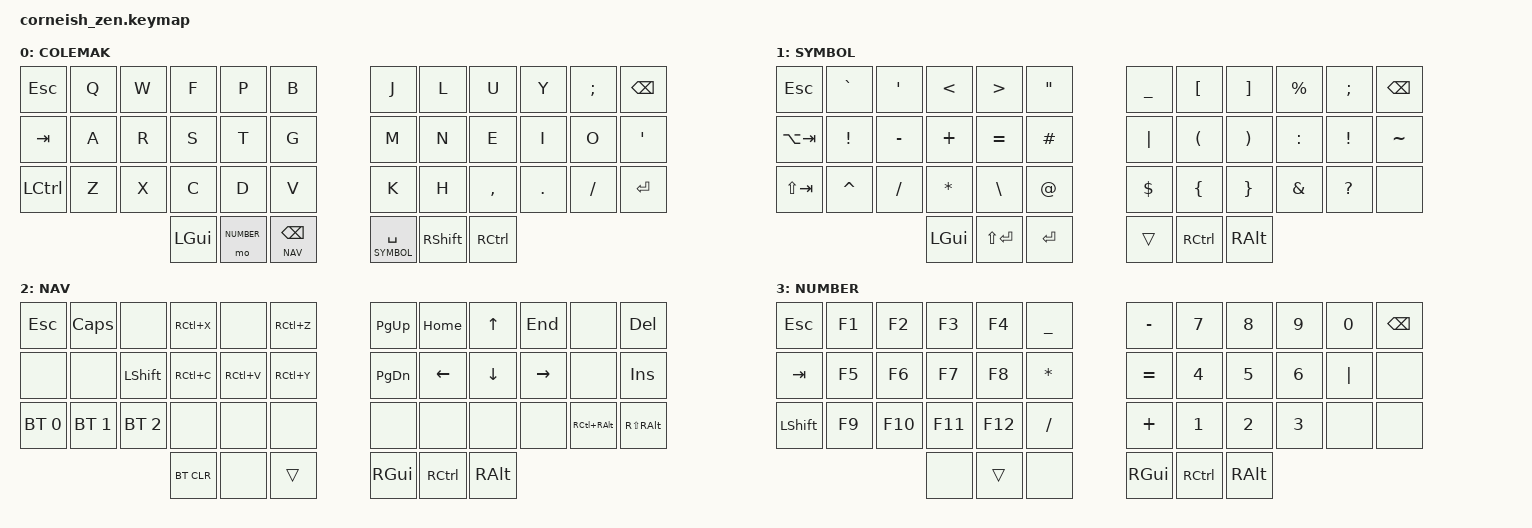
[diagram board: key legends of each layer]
/*
*
* Copyright (c) 2021 Darryl deHaan
* SPDX-License-Identifier: MIT
*
*/

#include <behaviors.dtsi>
#include <dt-bindings/zmk/keys.h>
#include <dt-bindings/zmk/bt.h>

#define BASE    0
#define SYMBOL  1
#define NAV     2
#define NUMBER  3
#define SYSTEM  4

/ {
    chosen {
        zmk,physical-layout = &foostan_corne_6col_layout;
    };
};

/ {
    keymap {
        compatible = "zmk,keymap";

        base_layer {
            display-name = "COLEMAK";
// --------------------------------------------------------------------------------
// | ESC  |  Q  |  W  |  F  |  P  |    B     ||     J   |  L   |  U  |  Y  |  ;  | BKSP |
// | TAB  |  A  |  R  |  S  |  T  |    G     ||     M   |  N   |  E  |  I  |  O  |   '  |
// | CTRL |  Z  |  X  |  C  |  D  |    V     ||     K   |  H   |  ,  |  .  |  /  | ENTER |
//                    | GUI | NUM | NAV/BKSP || SYM/SPC | SHFT | ALT |

            bindings = <
&kp ESC &kp Q &kp W &kp F &kp P &kp B          &kp J &kp L &kp U &kp Y &kp SEMI &kp BKSP
&kp TAB &kp A &kp R &kp S &kp T &kp G          &kp M &kp N &kp E &kp I &kp O &kp SQT
&kp LCTRL &kp Z &kp X &kp C &kp D &kp V        &kp K &kp H &kp COMMA &kp DOT &kp FSLH &kp ENTER
        &kp LGUI &mo NUMBER &lt NAV BKSP       &lt SYMBOL SPACE &kp RSHFT &kp RCTRL
            >;
        };

        symbol_layer {
            display-name = "SYMBOL";
// -----------------------------------------------------------------------------------------
// | ESC  |  `  |  '  |  <  |   >   |  "  ||  _   |  [  |  ]  |  %  |  ;  | BKSP |
// | ATAB |  !  |  -  |  +  |   =   |  #  || '|'  |  (  |  )  |  :  |  !  |  ~  |
// | STAB |  ^  |  /  |  *  |   \   |  @  ||  $   |  {  |  }  |  &  |  ?  |     |
//                    | GUI | S-ENT | ENT || HELD | CTRL| ALT |

            bindings = <
&kp ESC &kp GRAVE &kp SQT &kp LT &kp GT &kp DQT                 &kp UNDER &kp LBKT &kp RBKT &kp PRCNT &kp SEMI &kp BSPC
&kp LA(TAB) &kp EXCL &kp MINUS &kp PLUS &kp EQUAL &kp HASH      &kp PIPE &kp LPAR &kp RPAR &kp COLON &kp EXCL &kp TILDE
&kp LS(TAB) &kp CARET &kp FSLH &kp STAR &kp BSLH &kp AT         &kp DLLR &kp LBRC &kp RBRC &kp AMPS &kp QMARK &none
                        &kp LGUI &kp LS(ENTER) &kp ENTER        &trans &kp RCTRL &kp RALT
            >;
        };

        nav_layer {
            display-name = "NAV";
// -----------------------------------------------------------------------------------------
// | ESC | CAPS |     | CUT  |       | UNDO || PGUP | HM  | UP  | END |       | DEL   |
// |     |      | SFT | COPY | PASTE | REDO || PGDN | LFT | DWN | RGT |       |  INS  |
// | BT0 | BT1  | BT2 |      |       |      ||      |     |     |     | C/ALT | S/ALT |
//                    | BTCLR|       | HELD || GUI  | CTRL| ALT |

            bindings = <
&kp ESC &kp CAPS &none &kp RC(X) &none &kp RC(Z)            &kp PG_UP &kp HOME &kp UP &kp END &none &kp DEL
&none &none &kp LSHFT &kp RC(C) &kp RC(V) &kp RC(Y)         &kp PG_DN &kp LEFT &kp DOWN &kp RIGHT &none &kp INS
&bt BT_SEL 0 &bt BT_SEL 1 &bt BT_SEL 2 &none &none &none    &none &none &none &none &kp RC(RALT) &kp RS(RALT)
                                &bt BT_CLR &none &trans     &kp RGUI &kp RCTRL &kp RALT
            >;
        };

        number_layer {
            display-name = "NUMBER";
// -----------------------------------------------------------------------------------------
// | ESC  | F1 | F2  | F3  | F4  |  _  ||  -  |  7  |  8  |  9  |  0  | BKSP |
// | TAB  | F5 | F6  | F7  | F8  |  *  ||  =  |  4  |  5  |  6  | '|' |     |
// | SHFT | F9 | F10 | F11 | F12 |  /  ||  +  |  1  |  2  |  3  |     |     |
//                   |     | HELD|     || GUI | CTRL| ALT |

            bindings = <
&kp ESC &kp F1 &kp F2 &kp F3 &kp F4 &kp UNDER        &kp MINUS &kp N7 &kp N8 &kp N9 &kp N0 &kp BKSP
&kp TAB &kp F5 &kp F6 &kp F7 &kp F8 &kp STAR         &kp EQUAL &kp N4 &kp N5 &kp N6 &kp PIPE &none
&kp LSHFT &kp F9 &kp F10 &kp F11 &kp F12 &kp FSLH    &kp PLUS &kp N1 &kp N2 &kp N3 &none &none
                        &none &trans &none           &kp RGUI &kp RCTRL &kp RALT
            >;
        };
    };
};
